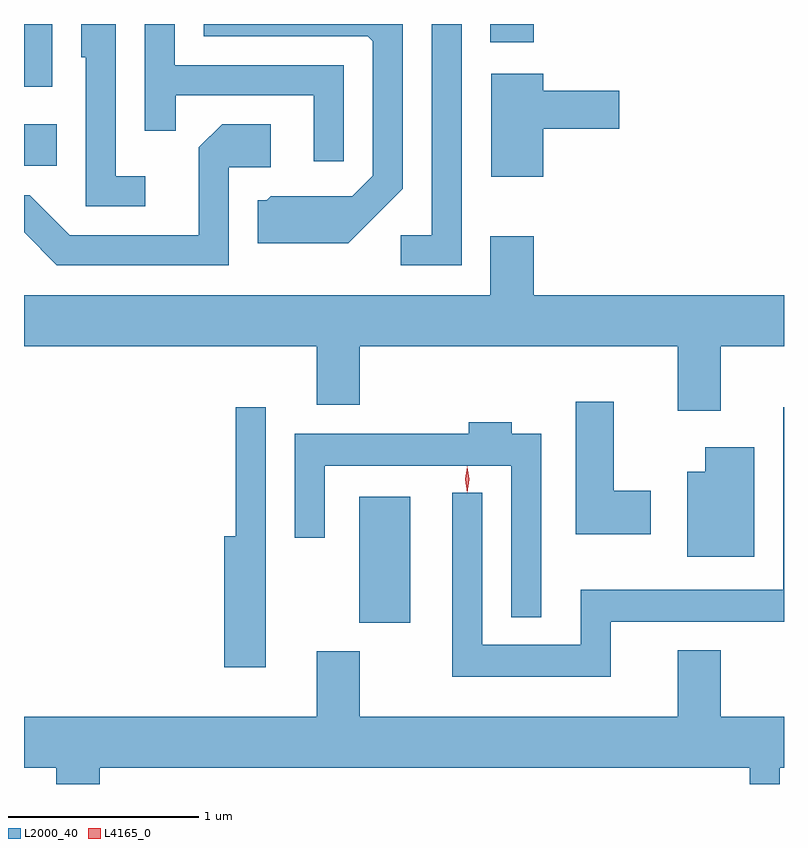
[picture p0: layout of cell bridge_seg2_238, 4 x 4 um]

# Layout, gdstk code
import gdstk
lib = gdstk.Library(unit=1e-6, precision=1e-09)
def R(c, l, rs):  # rectangles x0, y0, x1, y1
    for r in rs: c.add(gdstk.rectangle(r[:2], r[2:], *l))
def P(c, l, *ps):  # polygons
    for p in ps: c.add(gdstk.Polygon(p, *l))
L2000_40 = (2000, 40)
L4165_0 = (4165, 0)

bridge_seg2_238 = lib.new_cell('bridge_seg2_238')
R(bridge_seg2_238, L2000_40, [(548.266,1075.721,548.534,1076.384), (546.501,1078.126,546.674,1078.344), (546.501,1078.541,546.649,1078.871), (548.956,1078.776,549.184,1078.871)])
P(bridge_seg2_238, L2000_40, [(548.494,1078.004),(548.494,1078.871),(547.446,1078.871),(547.446,1078.806),(548.309,1078.806),(548.336,1078.779),(548.336,1078.072),(548.229,1077.964),(547.799,1077.964),(547.779,1077.944),(547.731,1077.944),(547.731,1077.716),(548.207,1077.716)],
  [(548.804,1078.871),(548.646,1078.871),(548.646,1077.759),(548.483,1077.759),(548.483,1077.601),(548.804,1077.601)],
  [(547.138,1078.069),(546.984,1078.069),(546.984,1078.871),(546.801,1078.871),(546.801,1078.696),(546.826,1078.696),(546.826,1077.911),(547.138,1077.911)],
  [(548.184,1078.654),(547.294,1078.654),(547.294,1078.871),(547.136,1078.871),(547.136,1078.308),(547.299,1078.308),(547.299,1078.496),(548.026,1078.496),(548.026,1078.148),(548.184,1078.148)],
  [(549.234,1078.321),(549.634,1078.321),(549.634,1078.519),(549.234,1078.519),(549.234,1078.609),(548.961,1078.609),(548.961,1078.066),(549.234,1078.066)],
  [(547.579,1078.116),(547.799,1078.116),(547.799,1078.344),(547.544,1078.344),(547.421,1078.222),(547.421,1077.759),(546.742,1077.759),(546.532,1077.969),(546.501,1077.969),(546.501,1077.774),(546.674,1077.601),(547.579,1077.601)],
  [(550.169,1077.176),(550.501,1077.176),(550.501,1077.444),(549.184,1077.444),(549.184,1077.754),(548.956,1077.754),(548.956,1077.444),(546.501,1077.444),(546.501,1077.176),(548.041,1077.176),(548.041,1076.866),(548.269,1076.866),(548.269,1077.176),(549.941,1077.176),(549.941,1076.836),(550.169,1076.836)],
  [(549.799,1076.414),(549.604,1076.414),(549.604,1076.884),(549.406,1076.884),(549.406,1076.186),(549.799,1076.186)],
  [(549.589,1075.726),(550.501,1075.726),(550.501,1076.853),(550.496,1076.853),(550.496,1075.894),(549.431,1075.894),(549.431,1075.604),(548.914,1075.604),(548.914,1076.403),(548.756,1076.403),(548.756,1075.436),(549.589,1075.436)],
  [(547.774,1076.853),(547.616,1076.853),(547.616,1076.174),(547.556,1076.174),(547.556,1075.486),(547.774,1075.486)],
  [(549.224,1076.714),(549.069,1076.714),(549.069,1076.774),(548.841,1076.774),(548.841,1076.714),(547.926,1076.714),(547.926,1076.168),(548.084,1076.168),(548.084,1076.546),(549.066,1076.546),(549.066,1075.748),(549.224,1075.748)],
  [(550.344,1076.644),(550.086,1076.644),(550.086,1076.514),(549.991,1076.514),(549.991,1076.066),(550.344,1076.066)],
  [(546.899,1074.956),(550.321,1074.956),(550.321,1074.871),(550.479,1074.871),(550.479,1074.956),(550.501,1074.956),(550.501,1075.224),(550.169,1075.224),(550.169,1075.574),(549.941,1075.574),(549.941,1075.224),(548.269,1075.224),(548.269,1075.569),(548.041,1075.569),(548.041,1075.224),(546.501,1075.224),(546.501,1074.956),(546.671,1074.956),(546.671,1074.871),(546.899,1074.871)])
P(bridge_seg2_238, L4165_0, [(548.834,1076.404),(548.834,1076.404),(548.824,1076.474),(548.834,1076.542),(548.834,1076.543),(548.835,1076.542),(548.844,1076.474),(548.835,1076.404)])

lib.write_gds('bridge_seg2_238.gds')
